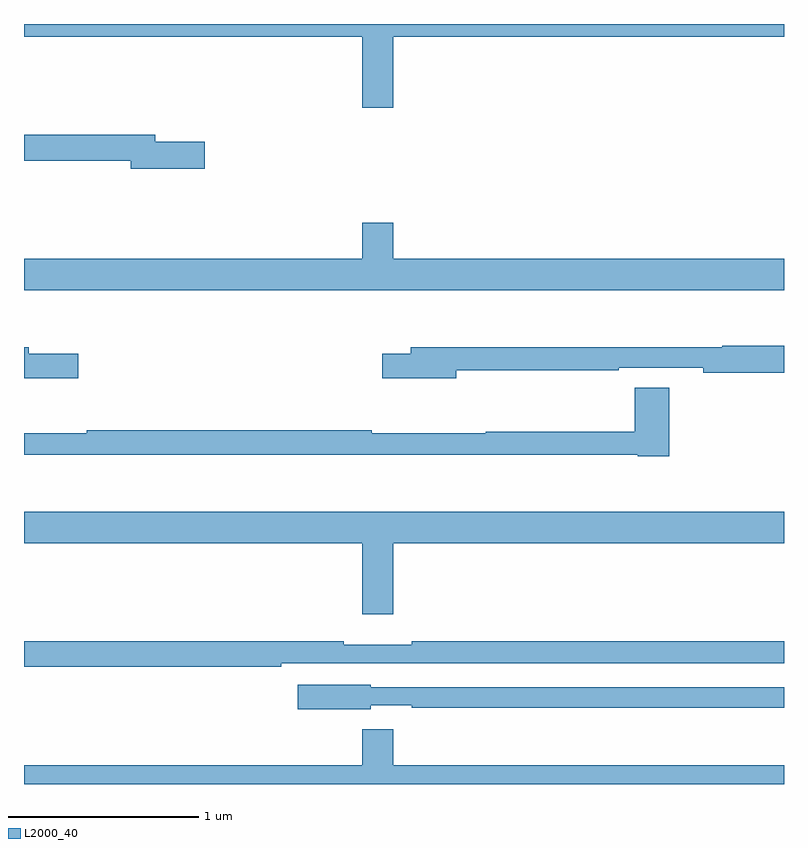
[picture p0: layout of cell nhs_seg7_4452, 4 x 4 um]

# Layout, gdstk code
import gdstk
lib = gdstk.Library(unit=1e-6, precision=1e-09)
def P(c, l, *ps):  # polygons
    for p in ps: c.add(gdstk.Polygon(p, *l))
L2000_40 = (2000, 40)

nhs_seg7_4452 = lib.new_cell('nhs_seg7_4452')
P(nhs_seg7_4452, L2000_40, [(392.944,1017.932),(395,1017.932),(395,1018),(391,1018),(391,1017.932),(392.78,1017.932),(392.78,1017.558),(392.944,1017.558)],
  [(391.951,1017.38),(391.69,1017.38),(391.69,1017.416),(391,1017.416),(391,1017.28),(391.562,1017.28),(391.562,1017.238),(391.951,1017.238)],
  [(395,1016.764),(392.944,1016.764),(392.944,1016.953),(392.78,1016.953),(392.78,1016.764),(391,1016.764),(391,1016.6),(395,1016.6)],
  [(393.274,1016.178),(394.13,1016.178),(394.13,1016.19),(394.574,1016.19),(394.574,1016.165),(395,1016.165),(395,1016.307),(394.674,1016.307),(394.674,1016.299),(393.035,1016.299),(393.035,1016.265),(392.886,1016.265),(392.886,1016.135),(393.274,1016.135)],
  [(391.285,1016.265),(391.024,1016.265),(391.024,1016.299),(391,1016.299),(391,1016.135),(391.285,1016.135)],
  [(394.397,1016.086),(394.214,1016.086),(394.214,1015.855),(393.43,1015.855),(393.43,1015.847),(392.83,1015.847),(392.83,1015.862),(391.33,1015.862),(391.33,1015.847),(391,1015.847),(391,1015.734),(394.23,1015.734),(394.23,1015.726),(394.397,1015.726)],
  [(392.944,1015.268),(395,1015.268),(395,1015.432),(391,1015.432),(391,1015.268),(392.78,1015.268),(392.78,1014.894),(392.944,1014.894)],
  [(392.354,1014.636),(395,1014.636),(395,1014.752),(393.04,1014.752),(393.04,1014.733),(392.684,1014.733),(392.684,1014.752),(391,1014.752),(391,1014.616),(392.354,1014.616)],
  [(392.826,1014.414),(393.04,1014.414),(393.04,1014.402),(395,1014.402),(395,1014.51),(392.826,1014.51),(392.826,1014.523),(392.442,1014.523),(392.442,1014.394),(392.826,1014.394)],
  [(395,1014.1),(392.944,1014.1),(392.944,1014.289),(392.78,1014.289),(392.78,1014.1),(391,1014.1),(391,1014),(395,1014)])

lib.write_gds('nhs_seg7_4452.gds')
